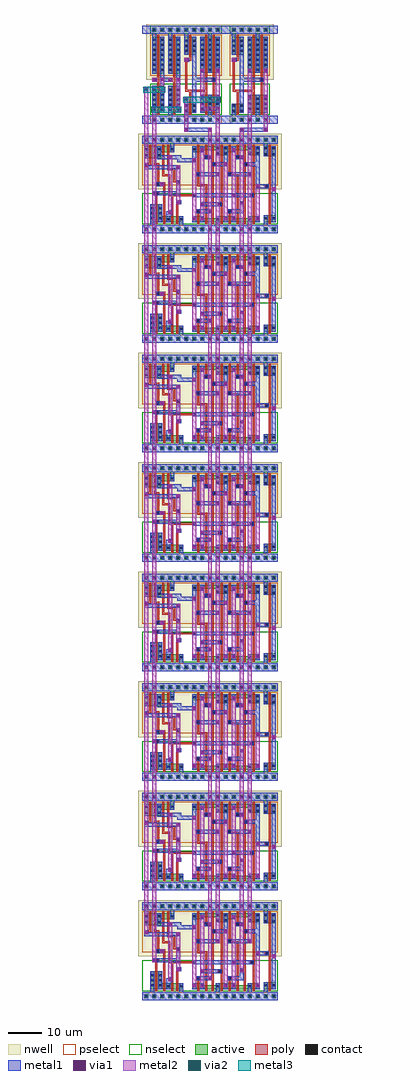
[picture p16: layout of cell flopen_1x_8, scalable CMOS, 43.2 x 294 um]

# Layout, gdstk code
import gdstk
lib = gdstk.Library(unit=1e-6, precision=1e-09)
def R(c, l, rs):  # rectangles x0, y0, x1, y1
    for r in rs: c.add(gdstk.rectangle(r[:2], r[2:], *l))
def A(c, l, x, y, w, h, nx, ny, dx, dy):  # array of equal rectangles
    R(c, l, [(x+i*dx, y+j*dy, x+i*dx+w, y+j*dy+h) for i in range(nx) for j in range(ny)])
def P(c, l, *ps):  # polygons
    for p in ps: c.add(gdstk.Polygon(p, *l))
contact = (25, 0)
nwell = (42, 0)
active = (43, 0)
pselect = (44, 0)
nselect = (45, 0)
poly = (46, 0)
metal1 = (49, 0)
via1 = (50, 0)
metal2 = (51, 0)
via2 = (61, 0)
metal3 = (62, 0)

invbuf_4x = lib.new_cell('invbuf_4x')
A(invbuf_4x, contact, 0.9, -0.3, 0.6, 0.6, 4, 2, 2.4, 3)
A(invbuf_4x, contact, 0.9, 4.2, 0.6, 0.6, 4, 4, 2.4, 1.5)
A(invbuf_4x, contact, 0.9, 14.7, 0.6, 0.6, 4, 7, 2.4, 1.5)
A(invbuf_4x, contact, 0.9, 26.7, 0.6, 0.6, 4, 1, 2.4, 0)
R(invbuf_4x, contact, [(0.9,11.7,1.5,12.3), (5.7,11.7,6.3,12.3)])
R(invbuf_4x, nwell, [(-1.2,12,6,28.8), (3.6,12,10.8,28.8)])
A(invbuf_4x, active, 0.6, -0.6, 1.2, 1.2, 4, 2, 2.4, 27)
R(invbuf_4x, active, [(0.6,2.1,4.2,10.2), (5.4,2.1,9,10.2), (0.6,13.8,4.2,24.9), (5.4,13.8,9,24.9)])
R(invbuf_4x, pselect, [(0,-1.2,4.8,1.2), (4.8,-1.2,9.6,1.2), (0,13.2,4.8,25.5), (4.8,13.2,9.6,25.5)])
R(invbuf_4x, nselect, [(0,1.5,4.8,10.8), (4.8,1.5,9.6,10.8), (0,25.8,4.8,28.2), (4.8,25.8,9.6,28.2)])
P(invbuf_4x, poly, [(7.5,25.5),(6.9,25.5),(6.9,12.6),(5.4,12.6),(5.4,11.4),(6.9,11.4),(6.9,1.5),(7.5,1.5)],
  [(2.7,25.5),(2.1,25.5),(2.1,12.6),(0.6,12.6),(0.6,11.4),(2.1,11.4),(2.1,1.5),(2.7,1.5)])
R(invbuf_4x, metal1, [(0,-1.2,9.6,1.2), (0,-1.2,4.8,1.2), (4.8,-1.2,9.6,1.2), (3,2.1,4.2,24.9), (7.8,2.1,9,24.9), (0.6,11.4,1.8,12.6), (3,11.4,6.6,12.6), (0,25.8,9.6,28.2), (0,25.8,4.8,28.2), (4.8,25.8,9.6,28.2)])
P(invbuf_4x, metal1, [(9.6,1.2),(6.6,1.2),(6.6,10.2),(5.4,10.2),(5.4,1.2),(4.8,1.2),(4.8,-1.2),(9.6,-1.2)],
  [(9.6,28.2),(4.8,28.2),(4.8,25.8),(5.4,25.8),(5.4,13.8),(6.6,13.8),(6.6,25.8),(9.6,25.8)],
  [(4.8,1.2),(1.8,1.2),(1.8,10.2),(0.6,10.2),(0.6,1.2),(0,1.2),(0,-1.2),(4.8,-1.2)],
  [(4.8,28.2),(0,28.2),(0,25.8),(0.6,25.8),(0.6,13.8),(1.8,13.8),(1.8,25.8),(4.8,25.8)])
R(invbuf_4x, via1, [(0.9,11.7,1.5,12.3), (3.3,11.7,3.9,12.3), (8.1,11.7,8.7,12.3)])
R(invbuf_4x, metal2, [(0.6,11.4,1.8,12.6), (0.6,11.4,1.8,12.6), (0.6,11.4,1.8,12.6), (0.6,11.4,2.1,12.6), (3,11.4,4.2,12.6), (3,11.4,4.2,12.6), (3,11.4,4.2,12.6), (5.4,11.4,6.6,12.6), (5.4,11.4,6.6,12.6), (7.8,11.4,9,12.6), (7.8,11.4,9,12.6), (7.8,11.4,9,12.6)])

clkinvbuf_4x = lib.new_cell('clkinvbuf_4x')
A(clkinvbuf_4x, contact, 0.9, -0.3, 0.6, 0.6, 5, 2, 2.4, 27)
A(clkinvbuf_4x, contact, 5.7, 3, 0.6, 0.6, 3, 3, 2.4, 1.5)
A(clkinvbuf_4x, contact, 5.7, 14.7, 0.6, 0.6, 3, 7, 2.4, 1.5)
A(clkinvbuf_4x, contact, 0.9, 20.4, 0.6, 0.6, 1, 3, 0, 1.5)
A(clkinvbuf_4x, contact, 3.3, 20.4, 0.6, 0.6, 1, 3, 0, 1.5)
R(clkinvbuf_4x, contact, [(0.9,2.4,1.5,3), (3.3,2.4,3.9,3), (0.9,3.9,1.5,4.5), (3.3,3.9,3.9,4.5), (9.3,11.7,9.9,12.3), (1.2,17.7,1.8,18.3)])
R(clkinvbuf_4x, nwell, [(-1.2,12,13.2,28.8)])
A(clkinvbuf_4x, active, 0.6, -0.6, 1.2, 1.2, 5, 2, 2.4, 27)
R(clkinvbuf_4x, active, [(0.6,2.1,4.2,4.8), (5.4,2.1,11.4,7.5), (5.4,14.1,11.4,24.9), (0.6,19.5,4.2,24.9)])
R(clkinvbuf_4x, pselect, [(0,-1.2,12,1.2), (0,13.2,12,25.5)])
R(clkinvbuf_4x, nselect, [(0,1.5,12,10.8), (0,25.8,12,28.2)])
P(clkinvbuf_4x, poly, [(7.5,25.5),(6.9,25.5),(6.9,9),(1.5,9),(1.5,17.4),(2.1,17.4),(2.1,17.7),(2.7,17.7),(2.7,25.5),(2.1,25.5),(2.1,18.6),(0.9,18.6),(0.9,8.4),(2.1,8.4),(2.1,1.5),(2.7,1.5),(2.7,8.4),(6.9,8.4),(6.9,1.5),(7.5,1.5)],
  [(10.2,12.6),(9.9,12.6),(9.9,25.5),(9.3,25.5),(9.3,12.6),(9,12.6),(9,11.4),(9.3,11.4),(9.3,1.5),(9.9,1.5),(9.9,11.4),(10.2,11.4)])
R(clkinvbuf_4x, metal1, [(0,-1.2,12,1.2), (5.4,2.1,6.6,7.5), (10.2,2.1,11.4,7.5), (5.4,14.1,6.6,24.9), (10.2,14.1,11.4,24.9), (0.6,17.4,2.1,18.6), (0,25.8,12,28.2)])
P(clkinvbuf_4x, metal1, [(10.2,12.6),(4.2,12.6),(4.2,24.9),(3,24.9),(3,2.1),(4.2,2.1),(4.2,11.4),(10.2,11.4)],
  [(12,28.2),(0,28.2),(0,25.8),(0.6,25.8),(0.6,19.5),(1.8,19.5),(1.8,25.8),(7.8,25.8),(7.8,14.1),(9,14.1),(9,25.8),(12,25.8)],
  [(12,1.2),(9,1.2),(9,7.5),(7.8,7.5),(7.8,1.2),(1.8,1.2),(1.8,4.8),(0.6,4.8),(0.6,1.2),(0,1.2),(0,-1.2),(12,-1.2)])
R(clkinvbuf_4x, via1, [(5.7,6.6,6.3,7.2), (10.5,6.6,11.1,7.2), (5.7,14.4,6.3,15), (10.5,14.4,11.1,15), (0.9,17.7,1.5,18.3)])
R(clkinvbuf_4x, metal2, [(5.4,6.3,6.6,15.3), (5.4,6.3,6.6,7.5), (10.2,6.3,11.4,15.3), (10.2,6.3,11.4,7.5), (0.6,17.4,1.8,18.6)])

clkinvbufdual_4x = lib.new_cell('clkinvbufdual_4x')
R(clkinvbufdual_4x, metal1, [(0,-1.2,26.4,1.2), (0,25.8,26.4,28.2)])
A(clkinvbufdual_4x, metal2, 0.6, -1.8, 1.2, 1.2, 3, 1, 9.6, 0)
R(clkinvbufdual_4x, metal2, [(0.6,-1.8,1.8,6.6), (19.8,-1.8,21,7.5), (24.6,-1.8,25.8,7.5), (24.6,-1.8,25.8,-0.6), (10.2,5.4,11.4,6.6), (0.6,17.4,1.8,18.6), (15,17.4,16.2,18.6)])
P(clkinvbufdual_4x, metal2, [(11.4,3.9),(6.6,3.9),(6.6,7.5),(5.4,7.5),(5.4,2.7),(10.2,2.7),(10.2,-1.8),(11.4,-1.8)])
R(clkinvbufdual_4x, via2, [(0.9,5.7,1.5,6.3), (10.5,5.7,11.1,6.3)])
R(clkinvbufdual_4x, metal3, [(0.3,5.1,11.7,6.9)])
clkinvbufdual_4x.add(gdstk.Reference(clkinvbuf_4x, (0,0)))
clkinvbufdual_4x.add(gdstk.Reference(clkinvbuf_4x, (14.4,0)))

flopen_dp_1x = lib.new_cell('flopen_dp_1x')
A(flopen_dp_1x, contact, 0.9, -0.3, 0.6, 0.6, 17, 2, 2.4, 27)
A(flopen_dp_1x, contact, 7.5, 2.7, 0.6, 0.6, 3, 1, 3.9, 0)
A(flopen_dp_1x, contact, 22.5, 2.7, 0.6, 0.6, 3, 1, 2.4, 0)
A(flopen_dp_1x, contact, 2.7, 3, 0.6, 0.6, 1, 3, 0, 1.5)
A(flopen_dp_1x, contact, 5.1, 3, 0.6, 0.6, 1, 3, 0, 1.5)
A(flopen_dp_1x, contact, 0.9, 23.7, 0.6, 0.6, 3, 1, 3.9, 0)
A(flopen_dp_1x, contact, 32.1, 24, 0.6, 0.6, 4, 1, 2.4, 0)
R(flopen_dp_1x, contact, [(17.7,2.7,18.3,3.3), (32.1,2.7,32.7,3.3), (34.5,2.7,35.1,3.3), (36.9,3,37.5,3.6), (39.3,3,39.9,3.6), (16.5,5.1,17.1,5.7), (26.1,5.1,26.7,5.7), (23.1,7.2,23.7,7.8), (10.8,7.8,11.4,8.4), (15.3,9.9,15.9,10.5), (32.7,9.9,33.3,10.5), (4.2,10.5,4.8,11.1), (37.2,12.6,37.8,13.2), (4.5,13.2,5.1,13.8), (10.5,13.8,11.1,14.4), (16.5,16.2,17.1,16.8), (26.1,16.2,26.7,16.8), (0.9,18.9,1.5,19.5), (21.6,19.2,22.2,19.8), (31.2,19.2,31.8,19.8), (18.9,21.3,19.5,21.9), (28.5,21.3,29.1,21.9), (0.9,21.9,1.5,22.5), (4.8,21.9,5.4,22.5), (36.9,22.2,37.5,22.8), (39.3,22.2,39.9,22.8), (22.5,22.5,23.1,23.1), (24.9,22.5,25.5,23.1), (32.1,22.5,32.7,23.1), (34.5,22.5,35.1,23.1), (15.3,23.7,15.9,24.3), (17.7,23.7,18.3,24.3), (27.3,23.7,27.9,24.3), (22.5,24,23.1,24.6), (24.9,24,25.5,24.6)])
R(flopen_dp_1x, nwell, [(-1.2,12,42,28.8)])
A(flopen_dp_1x, active, 0.6, -0.6, 1.2, 1.2, 17, 2, 2.4, 27)
R(flopen_dp_1x, active, [(36.6,2.1,40.2,4.2), (36.6,21.9,40.2,24.9)])
P(flopen_dp_1x, active, [(35.4,3.9),(31.8,3.9),(31.8,3.3),(28.2,3.3),(28.2,3.9),(22.2,3.9),(22.2,3.3),(18.6,3.3),(18.6,3.9),(15,3.9),(15,2.1),(35.4,2.1)],
  [(12.3,3.9),(6,3.9),(6,7.5),(2.4,7.5),(2.4,2.1),(12.3,2.1)],
  [(35.4,24.9),(15,24.9),(15,23.1),(18.6,23.1),(18.6,23.7),(22.2,23.7),(22.2,22.2),(25.8,22.2),(25.8,23.1),(28.2,23.1),(28.2,23.7),(31.8,23.7),(31.8,22.2),(35.4,22.2)],
  [(9.6,24.9),(0.6,24.9),(0.6,21.3),(5.7,21.3),(5.7,23.1),(9.6,23.1)])
R(flopen_dp_1x, pselect, [(0,-1.2,40.8,1.2), (0,13.2,40.8,25.5)])
R(flopen_dp_1x, nselect, [(0,1.5,40.8,10.8), (0,25.8,40.8,28.2)])
P(flopen_dp_1x, poly, [(33.9,25.5),(33.3,25.5),(33.3,10.8),(32.4,10.8),(32.4,9.6),(33.3,9.6),(33.3,1.5),(33.9,1.5)],
  [(32.1,20.1),(31.2,20.1),(31.2,25.5),(30.6,25.5),(30.6,1.5),(31.2,1.5),(31.2,18.9),(32.1,18.9)],
  [(29.4,22.2),(29.1,22.2),(29.1,25.5),(28.5,25.5),(28.5,22.2),(28.2,22.2),(28.2,21),(29.4,21)],
  [(29.1,16.5),(27,16.5),(27,17.1),(26.7,17.1),(26.7,25.5),(26.1,25.5),(26.1,17.1),(25.8,17.1),(25.8,15.9),(28.5,15.9),(28.5,1.5),(29.1,1.5)],
  [(27,6),(25.8,6),(25.8,4.8),(26.1,4.8),(26.1,1.5),(26.7,1.5),(26.7,4.8),(27,4.8)],
  [(24.3,25.5),(23.7,25.5),(23.7,8.1),(22.8,8.1),(22.8,6.9),(23.7,6.9),(23.7,1.5),(24.3,1.5)],
  [(22.5,20.1),(21.6,20.1),(21.6,25.5),(21,25.5),(21,1.5),(21.6,1.5),(21.6,18.9),(22.5,18.9)],
  [(19.8,22.2),(19.5,22.2),(19.5,25.5),(18.9,25.5),(18.9,22.2),(18.6,22.2),(18.6,21),(19.8,21)],
  [(19.5,13.5),(17.1,13.5),(17.1,15.9),(17.4,15.9),(17.4,17.1),(17.1,17.1),(17.1,25.5),(16.5,25.5),(16.5,17.1),(16.2,17.1),(16.2,15.9),(16.5,15.9),(16.5,12.9),(18.9,12.9),(18.9,1.5),(19.5,1.5)],
  [(17.4,6),(16.2,6),(16.2,4.8),(16.5,4.8),(16.5,1.5),(17.1,1.5),(17.1,4.8),(17.4,4.8)],
  [(16.2,10.8),(15,10.8),(15,10.5),(8.4,10.5),(8.4,16.5),(6.6,16.5),(6.6,25.5),(6,25.5),(6,15.9),(7.8,15.9),(7.8,9.9),(8.7,9.9),(8.7,1.5),(9.3,1.5),(9.3,9.9),(15,9.9),(15,9.6),(16.2,9.6)],
  [(11.7,8.7),(10.5,8.7),(10.5,8.4),(10.2,8.4),(10.2,1.5),(10.8,1.5),(10.8,7.5),(11.7,7.5)],
  [(11.4,14.7),(9.9,14.7),(9.9,18.3),(8.1,18.3),(8.1,25.5),(7.5,25.5),(7.5,17.7),(9.3,17.7),(9.3,14.1),(10.2,14.1),(10.2,13.5),(11.4,13.5)],
  [(38.7,25.5),(38.1,25.5),(38.1,13.5),(36.9,13.5),(36.9,12.3),(38.1,12.3),(38.1,1.5),(38.7,1.5)],
  [(6.9,14.1),(5.1,14.1),(5.1,19.8),(4.2,19.8),(4.2,25.5),(3.6,25.5),(3.6,19.2),(4.5,19.2),(4.5,14.1),(4.2,14.1),(4.2,12.9),(6.3,12.9),(6.3,1.5),(6.9,1.5)],
  [(5.1,11.4),(3.9,11.4),(3.9,1.5),(4.5,1.5),(4.5,10.2),(5.1,10.2)],
  [(2.7,25.5),(2.1,25.5),(2.1,19.8),(0.6,19.8),(0.6,18.6),(1.8,18.6),(1.8,19.2),(2.7,19.2)])
R(flopen_dp_1x, metal1, [(0,-1.2,40.8,1.2), (4.8,2.1,6,7.5), (15,2.1,16.2,3.9), (17.4,2.1,18.6,3.9), (24.6,2.1,25.8,3.9), (27,2.1,28.2,3.9), (34.2,2.1,35.4,3.9), (39,2.1,40.2,24.9), (16.2,4.8,21,6), (17.4,6.9,24,8.1), (10.2,7.5,11.7,8.7), (15,9.6,33.6,10.8), (4.2,12.9,6.6,14.1), (16.2,15.9,23.4,17.1), (25.8,15.9,33,17.1), (18.6,21,21,22.2), (28.2,21,30.6,22.2), (17.4,23.1,18.6,24.9), (27,23.1,28.2,24.9), (0,25.8,40.8,28.2)])
P(flopen_dp_1x, metal1, [(40.8,1.2),(37.8,1.2),(37.8,4.2),(36.6,4.2),(36.6,1.2),(33,1.2),(33,3.9),(31.8,3.9),(31.8,1.2),(23.4,1.2),(23.4,3.9),(22.2,3.9),(22.2,1.2),(12.3,1.2),(12.3,3.9),(11.1,3.9),(11.1,1.2),(3.6,1.2),(3.6,7.5),(2.4,7.5),(2.4,1.2),(0,1.2),(0,-1.2),(40.8,-1.2)],
  [(40.8,28.2),(0,28.2),(0,25.8),(0.6,25.8),(0.6,21.3),(1.8,21.3),(1.8,25.8),(8.4,25.8),(8.4,23.1),(9.6,23.1),(9.6,25.8),(22.2,25.8),(22.2,22.2),(23.4,22.2),(23.4,25.8),(31.8,25.8),(31.8,22.2),(33,22.2),(33,25.8),(36.6,25.8),(36.6,21.9),(37.8,21.9),(37.8,25.8),(40.8,25.8)],
  [(38.1,13.5),(35.4,13.5),(35.4,24.9),(34.2,24.9),(34.2,20.1),(30.9,20.1),(30.9,18.9),(34.2,18.9),(34.2,12.3),(38.1,12.3)],
  [(30.6,8.4),(29.4,8.4),(29.4,6),(25.8,6),(25.8,4.8),(30.6,4.8)],
  [(25.8,24.9),(24.6,24.9),(24.6,20.1),(21.3,20.1),(21.3,18.9),(25.8,18.9)],
  [(16.2,24.9),(15,24.9),(15,21.3),(11.7,21.3),(11.7,22.2),(5.7,22.2),(5.7,24.9),(4.5,24.9),(4.5,21),(10.5,21),(10.5,20.1),(16.2,20.1)],
  [(11.4,14.7),(10.2,14.7),(10.2,11.4),(3,11.4),(3,10.2),(11.4,10.2)],
  [(11.4,19.2),(1.8,19.2),(1.8,19.8),(0.6,19.8),(0.6,18),(11.4,18)],
  [(9,5.7),(7.8,5.7),(7.8,5.4),(7.2,5.4),(7.2,2.1),(8.4,2.1),(8.4,4.2),(9,4.2)])
R(flopen_dp_1x, via1, [(15.3,3,15.9,3.6), (17.7,3,18.3,3.6), (24.9,3,25.5,3.6), (27.3,3,27.9,3.6), (34.5,3,35.1,3.6), (8.1,4.8,8.7,5.4), (20.1,5.1,20.7,5.7), (17.7,7.2,18.3,7.8), (29.7,7.5,30.3,8.1), (10.5,7.8,11.1,8.4), (27.3,9.9,27.9,10.5), (3.3,10.5,3.9,11.1), (39.3,11.7,39.9,12.3), (34.5,12.6,35.1,13.2), (5.7,13.2,6.3,13.8), (22.5,16.2,23.1,16.8), (32.1,16.2,32.7,16.8), (10.5,18.3,11.1,18.9), (0.9,18.9,1.5,19.5), (24.9,19.2,25.5,19.8), (15.3,20.4,15.9,21), (8.1,21.3,8.7,21.9), (20.1,21.3,20.7,21.9), (29.7,21.3,30.3,21.9), (17.7,23.4,18.3,24), (27.3,23.4,27.9,24)])
R(flopen_dp_1x, metal2, [(15,2.7,16.2,21.3), (17.4,2.7,18.6,24.3), (24.6,2.7,25.8,20.1), (27,2.7,28.2,24.3), (34.2,2.7,35.4,13.5), (7.8,4.5,9,22.2), (19.8,4.8,21,22.2), (29.4,7.2,30.6,8.4), (29.4,7.2,30.6,22.2), (10.2,7.5,11.4,19.2), (3,10.2,4.2,11.4), (39,11.4,40.2,12.6), (5.4,12.9,6.6,14.1), (19.8,12.9,21,14.1), (22.2,15.9,23.4,17.1), (31.8,15.9,33,17.1), (0.6,18.6,1.8,19.8)])

flopen_1x_8 = lib.new_cell('flopen_1x_8')
R(flopen_1x_8, metal1, [(0,-1.2,40.8,1.2), (0,25.8,40.8,28.2), (0,31.8,40.8,34.2), (0,58.8,40.8,61.2), (0,64.8,40.8,67.2), (0,91.8,40.8,94.2), (0,97.8,40.8,100.2), (0,124.8,40.8,127.2), (0,130.8,40.8,133.2), (0,157.8,40.8,160.2), (0,163.8,40.8,166.2), (0,190.8,40.8,193.2), (0,196.8,40.8,199.2), (0,223.8,40.8,226.2), (0,229.8,40.8,232.2), (0,256.8,40.8,259.2), (12.6,260.4,21,261.6), (29.4,260.4,37.8,261.6), (0,262.8,40.8,265.2), (0,289.8,40.8,292.2)])
R(flopen_1x_8, via1, [(12.9,260.7,13.5,261.3), (20.1,260.7,20.7,261.3), (29.7,260.7,30.3,261.3), (36.9,260.7,37.5,261.3)])
A(flopen_1x_8, metal2, 39, 11.4, 1.2, 1.2, 1, 8, 0, 33)
A(flopen_1x_8, metal2, 5.4, 12.9, 1.2, 1.2, 1, 8, 0, 33)
R(flopen_1x_8, metal2, [(29.4,7.2,30.6,261.6), (3,10.2,4.2,267.6), (19.8,12.9,21,261.6), (22.2,15.9,23.4,263.4), (31.8,15.9,33,263.4), (0.6,18.6,1.8,273.6), (12.6,260.4,13.8,263.4), (36.6,260.4,37.8,263.4), (10.2,266.4,11.4,276.6), (5.4,272.4,6.6,276.6), (3,275.4,4.2,276.6), (12.6,281.4,13.8,282.6), (27,281.4,28.2,282.6)])
R(flopen_1x_8, via2, [(3.3,266.7,3.9,267.3), (10.5,266.7,11.1,267.3), (0.9,272.7,1.5,273.3), (5.7,272.7,6.3,273.3)])
R(flopen_1x_8, metal3, [(2.7,266.1,11.7,267.9), (0.3,272.1,6.9,273.9)])
flopen_1x_8.add(gdstk.Reference(invbuf_4x, (2.4,264)))
flopen_1x_8.add(gdstk.Reference(clkinvbufdual_4x, (12,264)))
r = gdstk.Reference(flopen_dp_1x, (0,0)); r.repetition = gdstk.Repetition(1, 8, v1=(43.2,0), v2=(0,33)); flopen_1x_8.add(r)

lib.write_gds('flopen_1x_8.gds')
